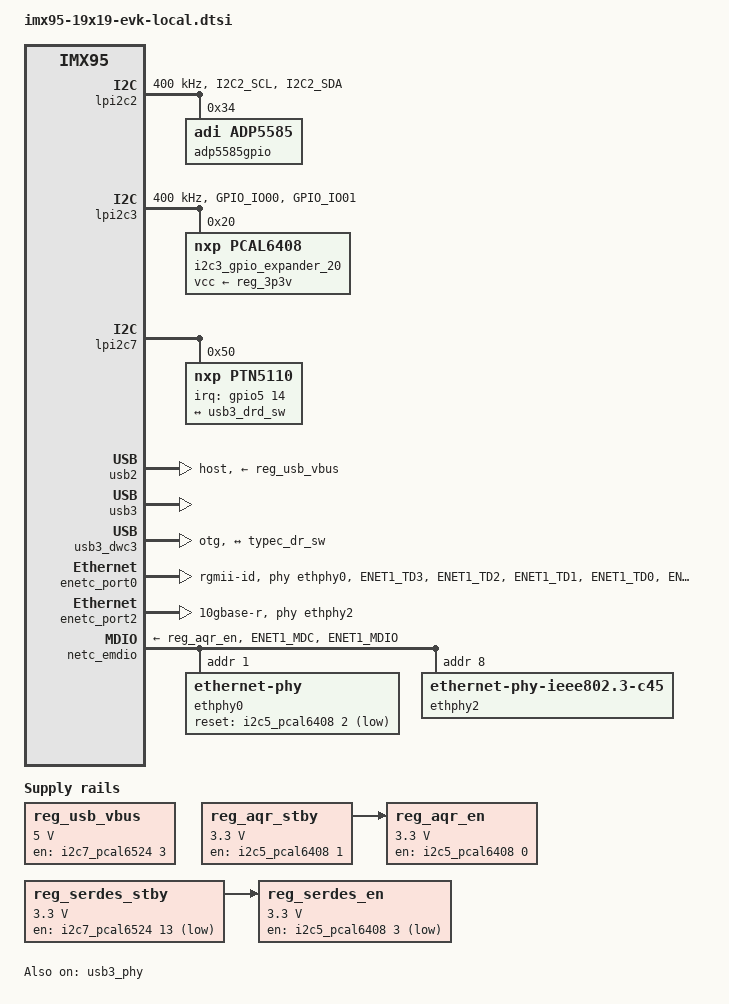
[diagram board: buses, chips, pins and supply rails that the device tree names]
// SPDX-License-Identifier: GPL-2.0+
/*
 * Copyright 2025 NXP
 */

#include <dt-bindings/usb/pd.h>

/ {
	aliases {
		ethernet0 = &enetc_port0;
		ethernet1 = &enetc_port2;
		spi0 = &flexspi1;
		usb0 = &usb3_dwc3;
		usb1 = &usb2;
	};

	chosen {
		bootargs = "console=ttyLP0,115200 earlycon";
	};

	reg_usb_vbus: regulator-vbus {
		compatible = "regulator-fixed";
		regulator-name = "USB_VBUS";
		regulator-min-microvolt = <5000000>;
		regulator-max-microvolt = <5000000>;
		gpio = <&i2c7_pcal6524 3 GPIO_ACTIVE_HIGH>;
		enable-active-high;
		regulator-always-on;
	};

	reg_aqr_stby: regulator-aqr-stby {
		compatible = "regulator-fixed";
		regulator-name = "aqr-stby";
		regulator-min-microvolt = <3300000>;
		regulator-max-microvolt = <3300000>;
		gpio = <&i2c5_pcal6408 1 GPIO_ACTIVE_HIGH>;
		enable-active-high;
	};

	reg_aqr_en: regulator-aqr-en {
		compatible = "regulator-fixed";
		regulator-name = "aqr-en";
		regulator-min-microvolt = <3300000>;
		regulator-max-microvolt = <3300000>;
		vin-supply = <&reg_aqr_stby>;
		gpio = <&i2c5_pcal6408 0 GPIO_ACTIVE_HIGH>;
		enable-active-high;
	};

	reg_serdes_stby: regulator-mac-stby {
		compatible = "regulator-fixed";
		regulator-name = "mac-stby";
		regulator-min-microvolt = <3300000>;
		regulator-max-microvolt = <3300000>;
		gpio = <&i2c7_pcal6524 13 GPIO_ACTIVE_LOW>;
	};

	reg_serdes_en: regulator-mac-en {
		compatible = "regulator-fixed";
		regulator-name = "mac-en";
		regulator-min-microvolt = <3300000>;
		regulator-max-microvolt = <3300000>;
		vin-supply = <&reg_serdes_stby>;
		gpio = <&i2c5_pcal6408 3 GPIO_ACTIVE_LOW>;
	};
};

&lpi2c2 {
	#address-cells = <1>;
	#size-cells = <0>;
	clock-frequency = <400000>;
	pinctrl-names = "default", "sleep";
	pinctrl-0 = <&pinctrl_lpi2c2>;
	pinctrl-1 = <&pinctrl_lpi2c2>;
	status = "okay";

	adp5585gpio: gpio@34 {
		compatible = "adi,adp5585";
		reg = <0x34>;
		gpio-controller;
		#gpio-cells = <2>;
	};
};

&lpi2c3 {
	#address-cells = <1>;
	#size-cells = <0>;
	clock-frequency = <400000>;
	pinctrl-names = "default", "sleep";
	pinctrl-0 = <&pinctrl_lpi2c3>;
	pinctrl-1 = <&pinctrl_lpi2c3>;
	status = "okay";

	i2c3_gpio_expander_20: i2c3-gpio-expander@20 {
		compatible = "nxp,pcal6408";
		#gpio-cells = <2>;
		gpio-controller;
		reg = <0x20>;
		vcc-supply = <&reg_3p3v>;
	};
};

&lpi2c7 {
	ptn5110: tcpc@50 {
		compatible = "nxp,ptn5110";
		reg = <0x50>;
		interrupt-parent = <&gpio5>;
		interrupts = <14 IRQ_TYPE_LEVEL_LOW>;
		pinctrl-names = "default";
		pinctrl-0 = <&pinctrl_ptn5110>;

		port {
			typec_dr_sw: endpoint {
				remote-endpoint = <&usb3_drd_sw>;
			};
		};

		typec1_con: connector {
			compatible = "usb-c-connector";
			label = "USB-C";
			power-role = "dual";
			data-role = "dual";
			try-power-role = "sink";
			source-pdos = <PDO_FIXED(5000, 3000, PDO_FIXED_USB_COMM)>;
			sink-pdos = <PDO_FIXED(5000, 3000, PDO_FIXED_USB_COMM)
				     PDO_VAR(5000, 20000, 3000)>;
			op-sink-microwatt = <15000000>;
			self-powered;
		};
	};
};

&usb2 {
	dr_mode = "host";
	vbus-supply = <&reg_usb_vbus>;
	hnp-disable;
	srp-disable;
	adp-disable;
	disable-over-current;
	status = "okay";
};

&usb3 {
	status = "okay";
};

&usb3_phy {
	status = "okay";
};

&usb3_dwc3 {
	dr_mode = "otg";
	hnp-disable;
	srp-disable;
	adp-disable;
	usb-role-switch;
	role-switch-default-mode = "none";
	snps,dis-u1-entry-quirk;
	snps,dis-u2-entry-quirk;
	status = "okay";

	port {
		usb3_drd_sw: endpoint {
			remote-endpoint = <&typec_dr_sw>;
		};
	};
};

&enetc_port0 {
	pinctrl-names = "default";
	pinctrl-0 = <&pinctrl_enetc0>;
	phy-handle = <&ethphy0>;
	phy-mode = "rgmii-id";
	status = "okay";
};

&enetc_port2 {
	phy-handle = <&ethphy2>;
	phy-mode = "10gbase-r";
	serdes-supply = <&reg_serdes_en>;
	managed = "in-band-status";
	status = "okay";
};

&netc_emdio {
	pinctrl-names = "default";
	pinctrl-0 = <&pinctrl_emdio>;
	phy-supply = <&reg_aqr_en>;
	status = "okay";

	ethphy0: ethernet-phy@1 {
		reg = <1>;
		eee-broken-1000t;
		reset-gpios = <&i2c5_pcal6408 2 GPIO_ACTIVE_LOW>;
		reset-assert-us = <10000>;
		reset-deassert-us = <80000>;
	};

	ethphy2: ethernet-phy@8 {
		compatible = "ethernet-phy-ieee802.3-c45";
		reg = <8>;
	};
};

&scmi_iomuxc {
	pinctrl_lpi2c2: lpi2c2grp {
		fsl,pins = <
			IMX95_PAD_I2C2_SCL__AONMIX_TOP_LPI2C2_SCL	0x40000b9e
			IMX95_PAD_I2C2_SDA__AONMIX_TOP_LPI2C2_SDA	0x40000b9e
		>;
	};

	pinctrl_lpi2c3: lpi2c3grp {
		fsl,pins = <
			IMX95_PAD_GPIO_IO00__LPI2C3_SDA			0x40000b9e
			IMX95_PAD_GPIO_IO01__LPI2C3_SCL			0x40000b9e
		>;
	};

	pinctrl_ptn5110: ptn5110grp {
		fsl,pins = <
			IMX95_PAD_GPIO_IO34__GPIO5_IO_BIT14			0x31e
		>;
	};

	pinctrl_emdio: emdiogrp{
		fsl,pins = <
			IMX95_PAD_ENET1_MDC__NETCMIX_TOP_NETC_MDC		0x50e
			IMX95_PAD_ENET1_MDIO__NETCMIX_TOP_NETC_MDIO		0x90e
		>;
	};

	pinctrl_enetc0: enetc0grp {
		fsl,pins = <
			IMX95_PAD_ENET1_TD3__NETCMIX_TOP_ETH0_RGMII_TD3		0x50e
			IMX95_PAD_ENET1_TD2__NETCMIX_TOP_ETH0_RGMII_TD2		0x50e
			IMX95_PAD_ENET1_TD1__NETCMIX_TOP_ETH0_RGMII_TD1		0x50e
			IMX95_PAD_ENET1_TD0__NETCMIX_TOP_ETH0_RGMII_TD0		0x50e
			IMX95_PAD_ENET1_TX_CTL__NETCMIX_TOP_ETH0_RGMII_TX_CTL	0x57e
			IMX95_PAD_ENET1_TXC__NETCMIX_TOP_ETH0_RGMII_TX_CLK	0x58e
			IMX95_PAD_ENET1_RX_CTL__NETCMIX_TOP_ETH0_RGMII_RX_CTL	0x57e
			IMX95_PAD_ENET1_RXC__NETCMIX_TOP_ETH0_RGMII_RX_CLK	0x58e
			IMX95_PAD_ENET1_RD0__NETCMIX_TOP_ETH0_RGMII_RD0		0x57e
			IMX95_PAD_ENET1_RD1__NETCMIX_TOP_ETH0_RGMII_RD1		0x57e
			IMX95_PAD_ENET1_RD2__NETCMIX_TOP_ETH0_RGMII_RD2		0x57e
			IMX95_PAD_ENET1_RD3__NETCMIX_TOP_ETH0_RGMII_RD3		0x57e
		>;
	};

	pinctrl_mipi_dsi_csi: mipidsigrp {
		fsl,pins = <
			IMX95_PAD_CCM_CLKO2__GPIO3_IO_BIT27			0x31e
		>;
	};
};
